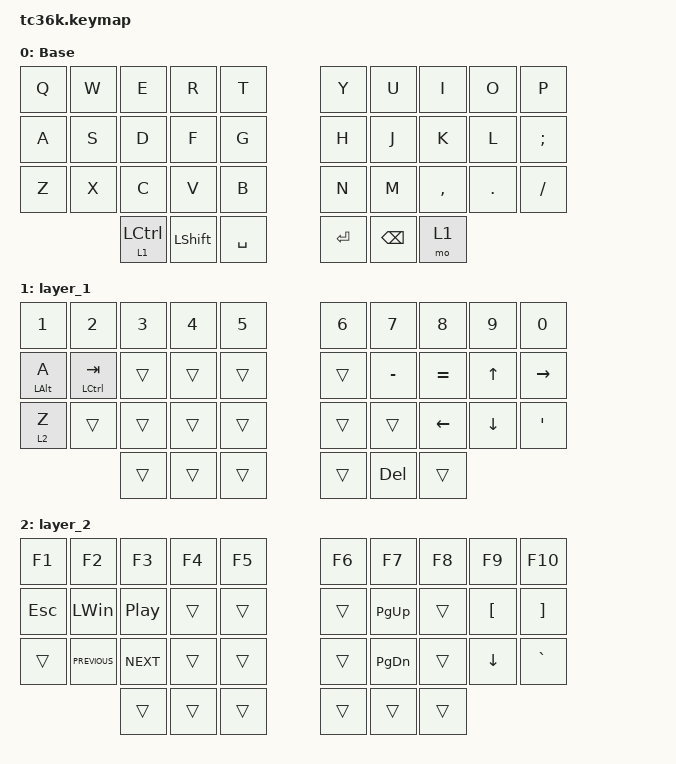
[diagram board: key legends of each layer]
#include <behaviors.dtsi>
#include <dt-bindings/zmk/keys.h>

/ {
    combos {
        compatible = "zmk,combos";

        screensnip {
            bindings = <&kp LG(LS(S))>;
            key-positions = <20 21 30>;
            slow-release;
        };
    };

    keymap {
        compatible = "zmk,keymap";

        default_layer {
            display-name = "Base";
            bindings = <
&kp Q  &kp W  &kp E        &kp R           &kp T      &kp Y      &kp U          &kp I      &kp O    &kp P
&kp A  &kp S  &kp D        &kp F           &kp G      &kp H      &kp J          &kp K      &kp L    &kp SEMI
&kp Z  &kp X  &kp C        &kp V           &kp B      &kp N      &kp M          &kp COMMA  &kp DOT  &kp SLASH
              &lt 1 LCTRL  &kp LEFT_SHIFT  &kp SPACE  &kp ENTER  &kp BACKSPACE  &mo 1
            >;
        };

        layer_1 {
            bindings = <
&kp NUMBER_1    &kp N2         &kp N3  &kp N4  &kp N5  &kp N6  &kp N7     &kp N8          &kp N9          &kp N0
&mt LEFT_ALT A  &mt LCTRL TAB  &trans  &trans  &trans  &trans  &kp MINUS  &kp EQUAL       &kp UP_ARROW    &kp RIGHT_ARROW
&lt 2 Z         &trans         &trans  &trans  &trans  &trans  &trans     &kp LEFT_ARROW  &kp DOWN_ARROW  &kp APOS
                               &trans  &trans  &trans  &trans  &kp DEL    &trans
            >;
        };

        layer_2 {
            bindings = <
&kp F1      &kp F2          &kp F3            &kp F4  &kp F5  &kp F6  &kp F7         &kp F8  &kp F9          &kp F10
&kp ESCAPE  &kp LEFT_WIN    &kp C_PLAY_PAUSE  &trans  &trans  &trans  &kp PAGE_UP    &trans  &kp LBKT        &kp RBKT
&trans      &kp C_PREVIOUS  &kp C_NEXT        &trans  &trans  &trans  &kp PAGE_DOWN  &trans  &kp DOWN_ARROW  &kp GRAVE
                            &trans            &trans  &trans  &trans  &trans         &trans
            >;
        };
    };
};
